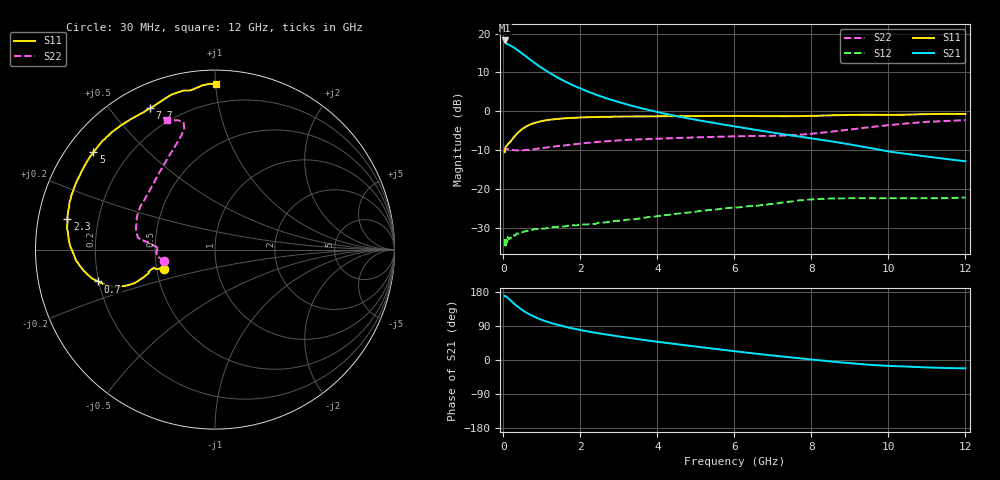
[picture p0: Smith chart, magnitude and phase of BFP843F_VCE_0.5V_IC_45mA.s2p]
! Infineon Technologies  Discrete & RF Semiconductors
! BFP843F
! VCE =  0.5 V,  IC =  45 mA
! Common Emitter S-Parameters:  Aug 2013
# GHz  S  MA  R  50
!  f  S11  S21  S12  S22
! GHz  MAG  ANG  MAG  ANG  MAG  ANG  MAG  ANG
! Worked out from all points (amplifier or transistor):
!   103 points, 30 MHz to 12 GHz, reference 50 ohm
!   highest |S21| = 18.2 dB at 30 MHz (marker M1)
!   |S21| within 3 dB of that: start of sweep to 435.7 MHz
!   unconditionally stable (mu >= 1): start of sweep to end of sweep
!   at 400 MHz: K = 2.23, MAG = 17.3 dB, |S12| = -31.6 dB
!   at 3.7 GHz: K = 2.53, MAG = 7.1 dB, |S12| = -27.4 dB
!   at 12 GHz: K = 2.36, MAG = -1.9 dB, |S12| = -22.2 dB
!   S11 on the Smith chart (normalised r, x): 30 MHz: 0.55, -0.13; 700 MHz: 0.20, -0.13; 2.3 GHz: 0.09, +0.10; 5 GHz: 0.08, +0.35; 7.7 GHz: 0.10, +0.63; 12 GHz: 0.08, +1.00
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0.03  0.3018 -159.1  8.162 168.9  0.0183 24.8  0.2886 -167.7
0.04  0.3245 -161.2  7.879 168.1  0.0203 21.1  0.3063 -170.3
0.05  0.3376 -161.3  7.677 168.9  0.0234 17.8  0.3136 -172.0
0.06  0.3504 -162.2  7.585 168.2  0.0187 12.8  0.318 -172.6
0.07  0.3532 -163.5  7.492 167.6  0.0223 5.9  0.3195 -174.3
0.25  0.4485 -158.2  6.706 151.0  0.0257 15.2  0.3172 178.8
0.35  0.5135 -157.6  6.204 142.3  0.0269 14.7  0.3141 178.1
0.5  0.597 -159.7  5.475 131.2  0.0277 15.4  0.3138 178.4
0.7  0.6759 -164.8  4.598 119.1  0.0289 16.5  0.321 178.0
0.9  0.729 -169.6  3.896 109.7  0.0303 16.9  0.33 177.0
1.2  0.7783 -175.8  3.122 98.9  0.032 18.2  0.3461 176.1
1.6  0.8124 177.3  2.426 87.9  0.0329 19.4  0.3638 174.7
2.1  0.8348 170.4  1.872 77.1  0.0348 22.1  0.388 173.3
2.3  0.8407 168.2  1.712 73.5  0.0352 23.1  0.3967 173.0
3  0.8523 160.7  1.31 62.2  0.0389 25.1  0.4212 172.2
4.1  0.8619 149.6  0.952 46.8  0.0451 27.3  0.4446 168.4
5  0.8685 141.3  0.777 35.5  0.0509 29.0  0.4605 162.7
6.1  0.8703 131.2  0.627 22.1  0.0578 27.2  0.4767 153.4
7.7  0.8668 114.8  0.471 4.5  0.0715 23.3  0.4991 134.6
8.5  0.8853 108.6  0.411 -3.7  0.0751 17.7  0.5437 122.7
10.5  0.9045 97.0  0.281 -17.4  0.0757 9.8  0.698 104.2
12  0.9217 89.6  0.227 -22.0  0.0774 9.8  0.7685 110.4
